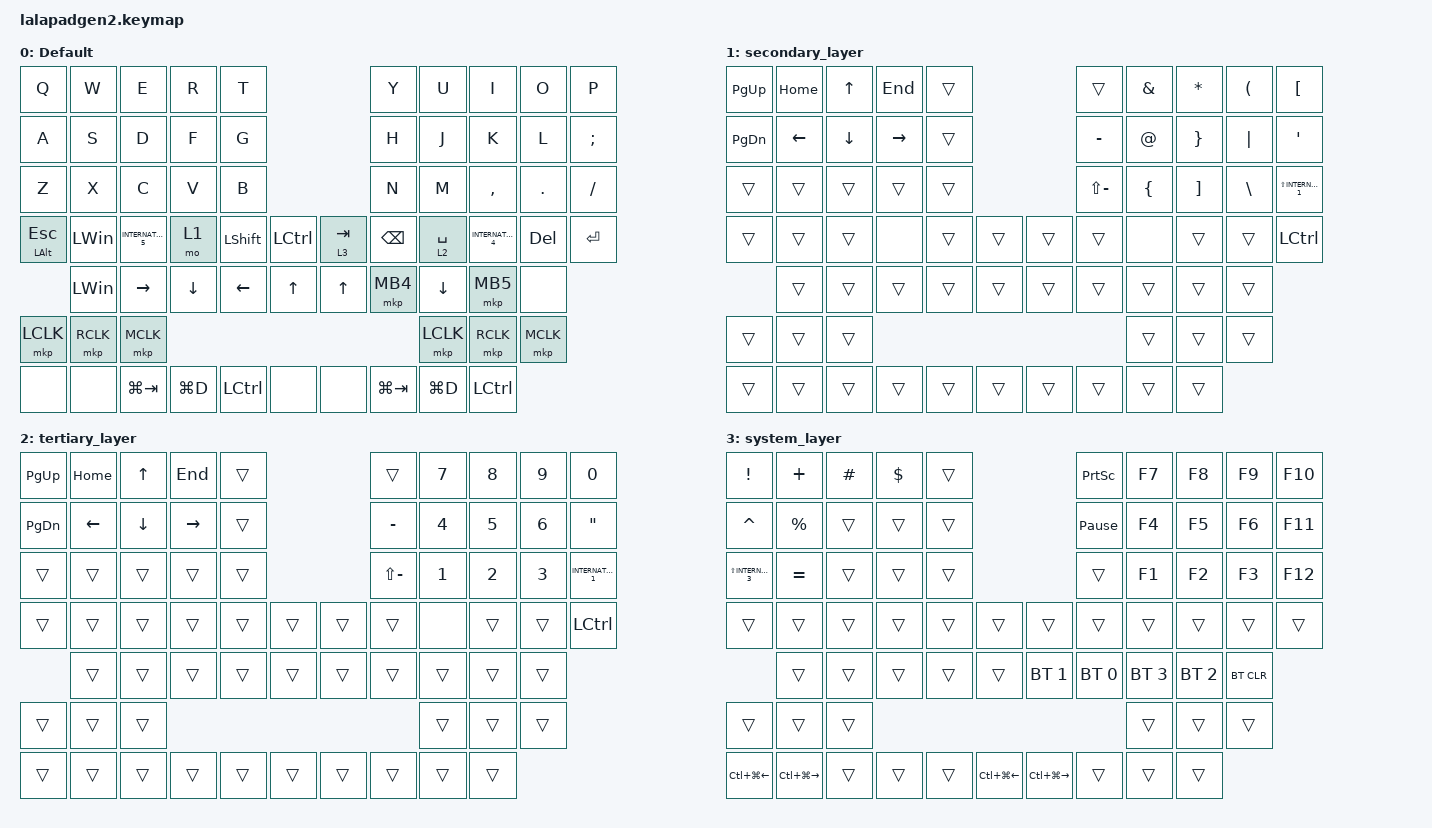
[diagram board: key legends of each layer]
#include <input/processors.dtsi>
#include <dt-bindings/zmk/zip_dynamic_scale.h>
#include <behaviors.dtsi>
#include <dt-bindings/zmk/bt.h>
#include <dt-bindings/zmk/keys.h>
#include <dt-bindings/zmk/outputs.h>
#include <dt-bindings/zmk/pointing.h>

#define DEFAULT_LAYER   0
#define SECONDARY_LAYER 1
#define TERTIARY_LAYER  2
#define SYSTEM_LAYER    3

&mt { quick-tap-ms = <200>; };

&lt { quick-tap-ms = <200>; };

/ {
    behaviors {
        zip_dyn_scale: zip_dyn_scale {
            compatible = "zmk,behavior-zip-dynamic-scale";
            #binding-cells = <2>;
        };

        zip_dyn_scale_set: zip_dyn_scale_set {
            compatible = "zmk,behavior-zip-dynamic-scale-set";
            #binding-cells = <2>;
        };

        mt2: mod_tap2 {
            compatible = "zmk,behavior-hold-tap";
            #binding-cells = <2>;
            flavor = "tap-preferred";
            tapping-term-ms = <200>;
            quick-tap-ms = <200>;
            bindings = <&kp>, <&kp>;
        };

        tap_dance_layer_1and2: tap_dance_layer_1and2 {
            compatible = "zmk,behavior-tap-dance";
            label = "td_mo12";
            #binding-cells = <0>;
            bindings = <&mo 1>, <&mo 2>;
        };

    };

    combos {
        compatible = "zmk,combos";
    };

    keymap {
        compatible = "zmk,keymap";

        DEFAULT_LAYER {
            display-name = "Default";
            bindings = <
&kp Q              &kp W      &kp E         &kp R      &kp T                                     &kp Y      &kp U     &kp I           &kp O           &kp P
&kp A              &kp S      &kp D         &kp F      &kp G                                     &kp H      &kp J     &kp K           &kp L           &kp SEMICOLON
&kp Z              &kp X      &kp C         &kp V      &kp B                                     &kp N      &kp M     &kp COMMA       &kp PERIOD      &kp SLASH
&mt2 LEFT_ALT ESCAPE  &kp LWIN   &kp INTERNATIONAL_5  &mo 1  &kp LEFT_SHIFT  &kp LCTRL  &lt 3 TAB  &kp BACKSPACE  &lt 2 SPACE  &kp INTERNATIONAL_4  &kp DELETE  &kp ENTER
                   &kp LWIN   &kp RIGHT     &kp DOWN     &kp LEFT     &kp UP        &kp UP         &mkp MB4   &kp DOWN  &mkp MB5        &none
&mkp LCLK          &mkp RCLK  &mkp MCLK                                                                               &mkp LCLK       &mkp RCLK       &mkp MCLK
&none              &none      &kp LG(TAB)   &kp LG(D)  &kp LCTRL                                 &none      &none     &kp LG(TAB)     &kp LG(D)       &kp LCTRL
            >;
        };

        SECONDARY_LAYER {
            display-name = "secondary_layer";
            bindings = <
&kp PAGE_UP     &kp HOME  &kp UP_ARROW  &kp END  &trans  &trans        &kp AMPERSAND  &kp ASTERISK   &kp LPAR      &kp LBKT
&kp PAGE_DOWN   &kp LEFT  &kp DOWN_ARROW  &kp RIGHT  &trans  &kp MINUS     &kp AT         &kp RBRC       &kp PIPE      &kp SQT
&trans          &trans    &trans          &trans     &trans  &kp LS(MINUS) &kp LBRC       &kp RBKT       &kp BACKSLASH &kp LS(INTERNATIONAL_1)
&trans          &trans    &trans          &none      &trans  &trans  &trans  &trans   &none      &trans     &trans    &kp LCTRL
                &trans    &trans          &trans     &trans  &trans  &trans  &trans   &trans     &trans     &trans
&trans          &trans    &trans                                                       &trans     &trans     &trans
&trans  &trans  &trans  &trans  &trans  &trans  &trans  &trans  &trans  &trans
            >;
        };

        TERTIARY_LAYER {
            display-name = "tertiary_layer";
            bindings = <
&kp PAGE_UP  &kp HOME  &kp UP_ARROW  &kp END  &trans  &trans        &kp N7  &kp N8  &kp N9  &kp N0
&kp PAGE_DOWN  &kp LEFT  &kp DOWN_ARROW  &kp RIGHT  &trans  &kp MINUS     &kp N4  &kp N5  &kp N6  &kp DQT
&trans          &trans    &trans          &trans      &trans  &kp LS(MINUS) &kp N1  &kp N2  &kp N3  &kp INTERNATIONAL_1
&trans           &trans         &trans        &trans                &trans                 &trans  &trans  &trans         &none      &trans         &trans     &kp LCTRL
                 &trans         &trans        &trans                &trans                 &trans  &trans  &trans         &trans    &trans          &trans
&trans           &trans         &trans                                                                                              &trans          &trans     &trans
&trans           &trans         &trans        &trans                &trans                                 &trans         &trans    &trans          &trans     &trans
            >;
        };

        SYSTEM_LAYER {
            display-name = "system_layer";
            bindings = <
&kp EXCLAMATION          &kp PLUS     &kp HASH  &kp DOLLAR  &trans  &kp PRINTSCREEN  &kp F7  &kp F8  &kp F9  &kp F10
&kp CARET                &kp PERCENT  &trans    &trans      &trans  &kp PAUSE_BREAK  &kp F4  &kp F5  &kp F6  &kp F11
&kp LS(INTERNATIONAL_3)  &kp EQUAL    &trans    &trans      &trans  &trans           &kp F1  &kp F2  &kp F3  &kp F12
&trans  &trans  &trans  &trans  &trans  &trans  &trans  &trans  &trans  &trans  &trans  &trans
        &trans  &trans  &trans  &trans  &trans  &bt BT_SEL 1  &bt BT_SEL 0  &bt BT_SEL 3  &bt BT_SEL 2  &bt BT_CLR
&trans  &trans  &trans                                                          &trans  &trans  &trans
&kp LC(LG(LEFT))  &kp LC(LG(RIGHT))  &trans  &trans  &trans  &kp LC(LG(LEFT))  &kp LC(LG(RIGHT))  &trans  &trans  &trans
            >;
        };
    };

};
